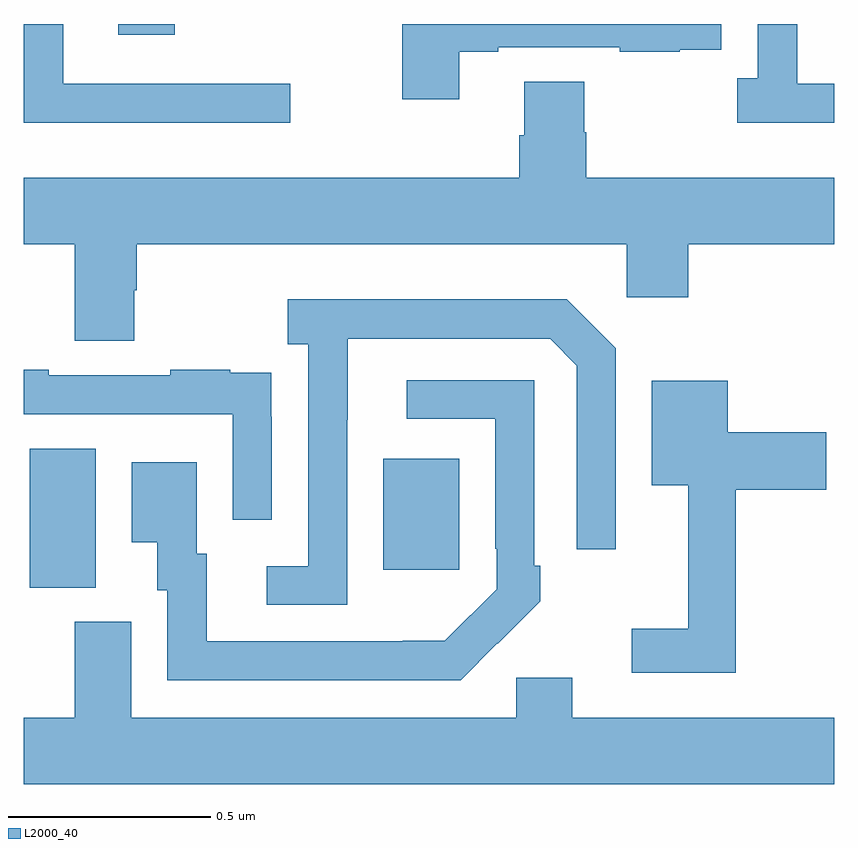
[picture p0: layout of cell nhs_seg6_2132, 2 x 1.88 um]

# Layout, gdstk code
import gdstk
lib = gdstk.Library(unit=1e-6, precision=1e-09)
def R(c, l, rs):  # rectangles x0, y0, x1, y1
    for r in rs: c.add(gdstk.rectangle(r[:2], r[2:], *l))
def P(c, l, *ps):  # polygons
    for p in ps: c.add(gdstk.Polygon(p, *l))
L2000_40 = (2000, 40)

nhs_seg6_2132 = lib.new_cell('nhs_seg6_2132')
R(nhs_seg6_2132, L2000_40, [(138.014,993.109,138.178,993.452), (138.887,993.153,139.075,993.427), (138.233,994.473,138.373,994.5)])
P(nhs_seg6_2132, L2000_40, [(140,994.353),(139.909,994.353),(139.909,994.5),(139.812,994.5),(139.812,994.366),(139.761,994.366),(139.761,994.256),(140,994.256)],
  [(138.658,994.353),(138.097,994.353),(138.097,994.5),(138,994.5),(138,994.256),(138.658,994.256)],
  [(139.075,994.431),(139.171,994.431),(139.171,994.443),(139.471,994.443),(139.471,994.431),(139.619,994.431),(139.619,994.437),(139.721,994.437),(139.721,994.5),(138.934,994.5),(138.934,994.314),(139.075,994.314)],
  [(138.273,993.843),(138.278,993.843),(138.278,993.956),(139.488,993.956),(139.488,993.825),(139.64,993.825),(139.64,993.956),(140,993.956),(140,994.12),(139.388,994.12),(139.388,994.233),(139.383,994.233),(139.383,994.358),(139.235,994.358),(139.235,994.226),(139.223,994.226),(139.223,994.12),(138,994.12),(138,993.956),(138.125,993.956),(138.125,993.718),(138.273,993.718)],
  [(138.798,993.523),(138.799,993.523),(138.799,993.723),(139.299,993.723),(139.365,993.657),(139.365,993.204),(139.461,993.204),(139.461,993.699),(139.34,993.82),(138.651,993.82),(138.651,993.71),(138.702,993.71),(138.702,993.162),(138.6,993.162),(138.6,993.066),(138.798,993.066)],
  [(138.612,993.53),(138.611,993.53),(138.611,993.639),(138.509,993.639),(138.509,993.646),(138.361,993.646),(138.361,993.633),(138.061,993.633),(138.061,993.646),(138,993.646),(138,993.537),(138.516,993.537),(138.516,993.276),(138.612,993.276)],
  [(139.169,992.971),(139.17,992.97),(139.275,993.075),(139.275,993.163),(139.26,993.163),(139.26,993.621),(138.945,993.621),(138.945,993.525),(139.164,993.525),(139.164,993.205),(139.167,993.205),(139.167,993.105),(139.039,992.977),(138.935,992.977),(138.935,992.976),(138.451,992.976),(138.451,993.192),(138.427,993.192),(138.427,993.418),(138.266,993.418),(138.266,993.221),(138.329,993.221),(138.329,993.102),(138.354,993.102),(138.354,992.88),(139.078,992.88)],
  [(139.757,993.35),(139.981,993.35),(139.981,993.492),(139.738,993.492),(139.738,993.619),(139.55,993.619),(139.55,993.362),(139.64,993.362),(139.64,993.007),(139.5,993.007),(139.5,992.898),(139.757,992.898)],
  [(140,992.788),(139.354,992.788),(139.354,992.886),(139.215,992.886),(139.215,992.788),(138.265,992.788),(138.265,993.024),(138.125,993.024),(138.125,992.788),(138,992.788),(138,992.624),(140,992.624)])

lib.write_gds('nhs_seg6_2132.gds')
